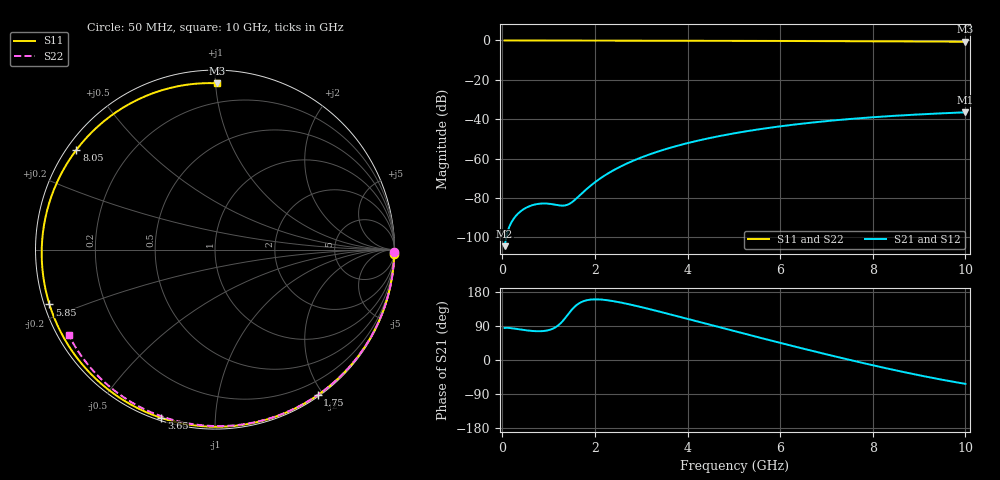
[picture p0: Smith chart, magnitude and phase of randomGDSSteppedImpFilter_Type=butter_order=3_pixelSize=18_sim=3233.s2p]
! freq	dB(S11)	phase(S11)	dB(S12)	phase(S12)
!  dB(S21)	phase(S21)	dB(S22)	phase(S22)
!S-par simulation data
#  GHz  S  DB  R 50
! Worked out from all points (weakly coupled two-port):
!   200 points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, 50 MHz to 10 GHz, reference 50 ohm
!   highest |S21| = -36.47 dB at 10 GHz (marker M1); lowest = -104.4 dB at 50 MHz (marker M2)
!   lowest |S11| = -0.7 dB at 10 GHz (marker M3), VSWR 26.32, Z = 3.84 + j50.4 ohm
!   |S11| at or under -10 dB: nowhere
!   |S22| runs from -0.5 to 0.0 dB; largest |S21 - S12| = 0
!   S11 on the Smith chart (normalised r, x): 50 MHz: 2, -74; 1.75 GHz: 0.02, -1.93; 3.65 GHz: 0.01, -0.73; 5.85 GHz: 0.01, -0.16; 8.05 GHz: 0.03, +0.32; 10 GHz: 0.08, +1.01
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0.05  -0.01 -1.6  -104.41 84.6  -104.41 84.6  -0.00 -0.8
0.4  -0.02 -12.8  -86.64 80.3  -86.64 80.3  -0.01 -6.9
0.8  -0.03 -25.6  -82.88 75.9  -82.88 75.9  -0.02 -13.8
1.2  -0.05 -38.1  -83.60 90.6  -83.60 90.6  -0.03 -20.7
1.6  -0.06 -50.3  -80.22 144.6  -80.22 144.6  -0.03 -27.5
1.75  -0.07 -54.8  -76.94 155.1  -76.94 155.1  -0.04 -30.0
2.1  -0.08 -65.1  -70.28 159.7  -70.28 159.7  -0.05 -35.8
2.45  -0.09 -75.2  -65.26 154.2  -65.26 154.2  -0.05 -41.6
2.9  -0.11 -87.7  -60.33 142.5  -60.33 142.5  -0.06 -48.9
3.4  -0.13 -101.1  -56.10 127.5  -56.10 127.5  -0.08 -56.9
3.65  -0.14 -107.6  -54.32 119.6  -54.32 119.6  -0.08 -60.8
4.3  -0.16 -124.1  -50.45 98.9  -50.45 98.9  -0.10 -70.9
5.05  -0.20 -142.5  -46.97 75.0  -46.97 75.0  -0.13 -82.1
5.85  -0.25 -161.7  -44.06 49.9  -44.06 49.9  -0.16 -93.7
6.3  -0.28 -172.4  -42.71 36.0  -42.71 36.0  -0.18 -100.0
6.7  -0.31 178.0  -41.65 23.9  -41.65 23.9  -0.20 -105.6
7.4  -0.37 160.8  -40.08 3.2  -40.08 3.2  -0.25 -115.1
8.05  -0.43 144.2  -38.89 -15.2  -38.89 -15.2  -0.30 -123.9
8.35  -0.46 136.3  -38.42 -23.4  -38.42 -23.4  -0.33 -127.9
9.2  -0.56 112.9  -37.31 -45.1  -37.31 -45.1  -0.41 -139.2
9.6  -0.61 101.3  -36.87 -54.4  -36.87 -54.4  -0.46 -144.5
10  -0.66 89.3  -36.47 -62.9  -36.47 -62.9  -0.50 -149.8
